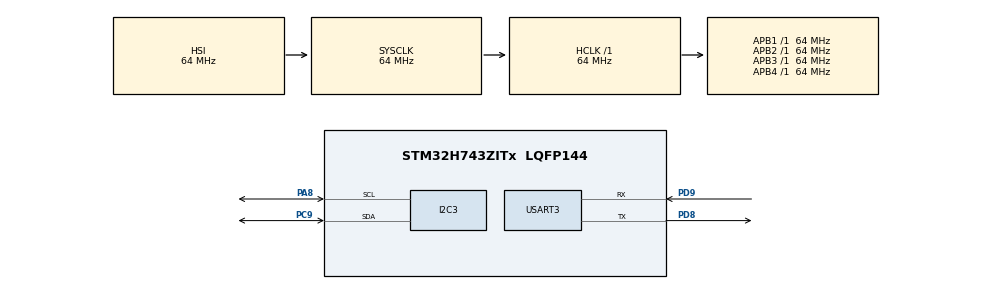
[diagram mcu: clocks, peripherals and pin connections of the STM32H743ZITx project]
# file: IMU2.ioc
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FREERTOS.Tasks01=IMUtask,0,128,StartIMUtask,Default,NULL,Dynamic,NULL,NULL
Mcu.Family=STM32H7
Mcu.Name=STM32H743ZITx
Mcu.Package=LQFP144
NVIC.PriorityGroup=NVIC_PRIORITYGROUP_4
NVIC.TIM1_UP_IRQn=true\:0\:0\:false\:false\:true\:false\:false
NVIC.TimeBase=TIM1_UP_IRQn
NVIC.TimeBaseIP=TIM1
NVIC.USART3_IRQn=true\:5\:0\:false\:false\:true\:true\:true
PA8.Mode=I2C
PA8.Signal=I2C3_SCL
PC9.Mode=I2C
PC9.Signal=I2C3_SDA
PD8.Mode=Asynchronous
PD8.Signal=USART3_TX
PD9.Mode=Asynchronous
PD9.Signal=USART3_RX
ProjectManager.HeapSize=0x200
ProjectManager.StackSize=0x400
ProjectManager.TargetToolchain=SW4STM32
RCC.ADCFreq_Value=129000000
RCC.APB1Freq_Value=64000000
RCC.APB2Freq_Value=64000000
RCC.APB3Freq_Value=64000000
RCC.APB4Freq_Value=64000000
RCC.CortexFreq_Value=64000000
RCC.HCLKFreq_Value=64000000
RCC.SYSCLKFreq_VALUE=64000000
RCC.USBFreq_Value=129000000
USART3.VirtualMode-Asynchronous=VM_ASYNC
USART3.WordLength=WORDLENGTH_8B
VP_FREERTOS_VS_ENABLE.Mode=Enabled
VP_SYS_VS_tim1.Mode=TIM1
board=IMU2

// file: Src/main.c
/**
  ******************************************************************************
  * File Name          : main.c
  * Description        : Main program body
  ******************************************************************************
  * This notice applies to any and all portions of this file
  * that are not between comment pairs USER CODE BEGIN and
  * USER CODE END. Other portions of this file, whether
  * inserted by the user or by software development tools
  * are owned by their respective copyright owners.
  *
  * Copyright (c) 2018 STMicroelectronics International N.V.
  * All rights reserved.
  *
  * Redistribution and use in source and binary forms, with or without
  * modification, are permitted, provided that the following conditions are met:
  *
  * 1. Redistribution of source code must retain the above copyright notice,
  *    this list of conditions and the following disclaimer.
  * 2. Redistributions in binary form must reproduce the above copyright notice,
  *    this list of conditions and the following disclaimer in the documentation
  *    and/or other materials provided with the distribution.
  * 3. Neither the name of STMicroelectronics nor the names of other
  *    contributors to this software may be used to endorse or promote products
  *    derived from this software without specific written permission.
  * 4. This software, including modifications and/or derivative works of this
  *    software, must execute solely and exclusively on microcontroller or
  *    microprocessor devices manufactured by or for STMicroelectronics.
  * 5. Redistribution and use of this software other than as permitted under
  *    this license is void and will automatically terminate your rights under
  *    this license.
  *
  * THIS SOFTWARE IS PROVIDED BY STMICROELECTRONICS AND CONTRIBUTORS "AS IS"
  * AND ANY EXPRESS, IMPLIED OR STATUTORY WARRANTIES, INCLUDING, BUT NOT
  * LIMITED TO, THE IMPLIED WARRANTIES OF MERCHANTABILITY, FITNESS FOR A
  * PARTICULAR PURPOSE AND NON-INFRINGEMENT OF THIRD PARTY INTELLECTUAL PROPERTY
  * RIGHTS ARE DISCLAIMED TO THE FULLEST EXTENT PERMITTED BY LAW. IN NO EVENT
  * SHALL STMICROELECTRONICS OR CONTRIBUTORS BE LIABLE FOR ANY DIRECT, INDIRECT,
  * INCIDENTAL, SPECIAL, EXEMPLARY, OR CONSEQUENTIAL DAMAGES (INCLUDING, BUT NOT
  * LIMITED TO, PROCUREMENT OF SUBSTITUTE GOODS OR SERVICES; LOSS OF USE, DATA,
  * OR PROFITS; OR BUSINESS INTERRUPTION) HOWEVER CAUSED AND ON ANY THEORY OF
  * LIABILITY, WHETHER IN CONTRACT, STRICT LIABILITY, OR TORT (INCLUDING
  * NEGLIGENCE OR OTHERWISE) ARISING IN ANY WAY OUT OF THE USE OF THIS SOFTWARE,
  * EVEN IF ADVISED OF THE POSSIBILITY OF SUCH DAMAGE.
  *
  ******************************************************************************
  */

#include "main.h"
#include "stm32h7xx_hal.h"
#include "cmsis_os.h"
#include "i2c.h"
#include "usart.h"
#include "gpio.h"

/* USER CODE BEGIN Includes */
#include "MPU6050.h"
/* USER CODE END Includes */

/* USER CODE BEGIN PV */
/* Private variables ---------------------------------------------------------*/

/* USER CODE END PV */

void SystemClock_Config(void);
void MX_FREERTOS_Init(void);

/* USER CODE BEGIN PFP */
/* Private function prototypes -----------------------------------------------*/

/* USER CODE END PFP */

int main(void)
{

  /* MCU Configuration----------------------------------------------------------*/

  /* Reset of all peripherals, Initializes the Flash interface and the Systick. */
  HAL_Init();

  /* Configure the system clock */
  SystemClock_Config();

  /* Initialize all configured peripherals */
  MX_GPIO_Init();
  MX_USART3_UART_Init();
  MX_I2C3_Init();

  /* Call init function for freertos objects (in freertos.c) */
  MX_FREERTOS_Init();

  /* Start scheduler */
  osKernelStart();

  /* We should never get here as control is now taken by the scheduler */

  /* Infinite loop */
  while (1)
  {

  }

}

/** System Clock Configuration
*/
void SystemClock_Config(void)
{

  RCC_OscInitTypeDef RCC_OscInitStruct;
  RCC_ClkInitTypeDef RCC_ClkInitStruct;
  RCC_PeriphCLKInitTypeDef PeriphClkInitStruct;

    /**Supply configuration update enable
    */
  MODIFY_REG(PWR->CR3, PWR_CR3_SCUEN, 0);

    /**Configure the main internal regulator output voltage
    */
  __HAL_PWR_VOLTAGESCALING_CONFIG(PWR_REGULATOR_VOLTAGE_SCALE1);

  while ((PWR->D3CR & (PWR_D3CR_VOSRDY)) != PWR_D3CR_VOSRDY)
  {

  }
    /**Initializes the CPU, AHB and APB busses clocks
    */
  RCC_OscInitStruct.OscillatorType = RCC_OSCILLATORTYPE_HSI;
  RCC_OscInitStruct.HSIState = RCC_HSI_DIV1;
  RCC_OscInitStruct.HSICalibrationValue = 16;
  RCC_OscInitStruct.PLL.PLLState = RCC_PLL_NONE;
  if (HAL_RCC_OscConfig(&RCC_OscInitStruct) != HAL_OK)
  {
    _Error_Handler(__FILE__, __LINE__);
  }

    /**Initializes the CPU, AHB and APB busses clocks
    */
  RCC_ClkInitStruct.ClockType = RCC_CLOCKTYPE_HCLK|RCC_CLOCKTYPE_SYSCLK
                              |RCC_CLOCKTYPE_PCLK1|RCC_CLOCKTYPE_PCLK2
                              |RCC_CLOCKTYPE_D3PCLK1|RCC_CLOCKTYPE_D1PCLK1;
  RCC_ClkInitStruct.SYSCLKSource = RCC_SYSCLKSOURCE_HSI;
  RCC_ClkInitStruct.SYSCLKDivider = RCC_SYSCLK_DIV1;
  RCC_ClkInitStruct.AHBCLKDivider = RCC_HCLK_DIV1;
  RCC_ClkInitStruct.APB3CLKDivider = RCC_APB3_DIV1;
  RCC_ClkInitStruct.APB1CLKDivider = RCC_APB1_DIV1;
  RCC_ClkInitStruct.APB2CLKDivider = RCC_APB2_DIV1;
  RCC_ClkInitStruct.APB4CLKDivider = RCC_APB4_DIV1;

  if (HAL_RCC_ClockConfig(&RCC_ClkInitStruct, FLASH_LATENCY_0) != HAL_OK)
  {
    _Error_Handler(__FILE__, __LINE__);
  }

  PeriphClkInitStruct.PeriphClockSelection = RCC_PERIPHCLK_USART3|RCC_PERIPHCLK_I2C3;
  PeriphClkInitStruct.Usart234578ClockSelection = RCC_USART234578CLKSOURCE_D2PCLK1;
  PeriphClkInitStruct.I2c123ClockSelection = RCC_I2C123CLKSOURCE_D2PCLK1;
  if (HAL_RCCEx_PeriphCLKConfig(&PeriphClkInitStruct) != HAL_OK)
  {
    _Error_Handler(__FILE__, __LINE__);
  }

    /**Configure the Systick interrupt time
    */
  HAL_SYSTICK_Config(SystemCoreClock/1000);

    /**Configure the Systick
    */
  HAL_SYSTICK_CLKSourceConfig(SYSTICK_CLKSOURCE_HCLK);

  /* SysTick_IRQn interrupt configuration */
  HAL_NVIC_SetPriority(SysTick_IRQn, 15, 0);
}

void HAL_TIM_PeriodElapsedCallback(TIM_HandleTypeDef *htim)
{
  if (htim->Instance == TIM1) {
    HAL_IncTick();
  }
}

void _Error_Handler(char * file, int line)
{
  while(1)
  {
  }
}

/************************ (C) COPYRIGHT STMicroelectronics *****END OF FILE****/

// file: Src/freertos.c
/**
  ******************************************************************************
  * File Name          : freertos.c
  * Description        : Code for freertos applications
  ******************************************************************************
  * This notice applies to any and all portions of this file
  * that are not between comment pairs USER CODE BEGIN and
  * USER CODE END. Other portions of this file, whether
  * inserted by the user or by software development tools
  * are owned by their respective copyright owners.
  *
  * Copyright (c) 2018 STMicroelectronics International N.V.
  * All rights reserved.
  *
  * Redistribution and use in source and binary forms, with or without
  * modification, are permitted, provided that the following conditions are met:
  *
  * 1. Redistribution of source code must retain the above copyright notice,
  *    this list of conditions and the following disclaimer.
  * 2. Redistributions in binary form must reproduce the above copyright notice,
  *    this list of conditions and the following disclaimer in the documentation
  *    and/or other materials provided with the distribution.
  * 3. Neither the name of STMicroelectronics nor the names of other
  *    contributors to this software may be used to endorse or promote products
  *    derived from this software without specific written permission.
  * 4. This software, including modifications and/or derivative works of this
  *    software, must execute solely and exclusively on microcontroller or
  *    microprocessor devices manufactured by or for STMicroelectronics.
  * 5. Redistribution and use of this software other than as permitted under
  *    this license is void and will automatically terminate your rights under
  *    this license.
  *
  * THIS SOFTWARE IS PROVIDED BY STMICROELECTRONICS AND CONTRIBUTORS "AS IS"
  * AND ANY EXPRESS, IMPLIED OR STATUTORY WARRANTIES, INCLUDING, BUT NOT
  * LIMITED TO, THE IMPLIED WARRANTIES OF MERCHANTABILITY, FITNESS FOR A
  * PARTICULAR PURPOSE AND NON-INFRINGEMENT OF THIRD PARTY INTELLECTUAL PROPERTY
  * RIGHTS ARE DISCLAIMED TO THE FULLEST EXTENT PERMITTED BY LAW. IN NO EVENT
  * SHALL STMICROELECTRONICS OR CONTRIBUTORS BE LIABLE FOR ANY DIRECT, INDIRECT,
  * INCIDENTAL, SPECIAL, EXEMPLARY, OR CONSEQUENTIAL DAMAGES (INCLUDING, BUT NOT
  * LIMITED TO, PROCUREMENT OF SUBSTITUTE GOODS OR SERVICES; LOSS OF USE, DATA,
  * OR PROFITS; OR BUSINESS INTERRUPTION) HOWEVER CAUSED AND ON ANY THEORY OF
  * LIABILITY, WHETHER IN CONTRACT, STRICT LIABILITY, OR TORT (INCLUDING
  * NEGLIGENCE OR OTHERWISE) ARISING IN ANY WAY OUT OF THE USE OF THIS SOFTWARE,
  * EVEN IF ADVISED OF THE POSSIBILITY OF SUCH DAMAGE.
  *
  ******************************************************************************
  */

#include "FreeRTOS.h"
#include "task.h"
#include "cmsis_os.h"

/* USER CODE BEGIN Includes */
#include "stm32h7xx_hal.h"
#include "MPU6050.h"
#include "usart.h"
#include <stdio.h>
#include <stdlib.h>
#include "i2c.h"
#include "usart.h"
#include "gpio.h"
/* USER CODE END Includes */

osThreadId IMUtaskHandle;

void StartIMUtask(void const * argument);

void MX_FREERTOS_Init(void); /* (MISRA C 2004 rule 8.1) */

/* Hook prototypes */

/* Init FreeRTOS */

void MX_FREERTOS_Init(void) {

  /* Create the thread(s) */
  /* definition and creation of IMUtask */
  osThreadDef(IMUtask, StartIMUtask, osPriorityNormal, 0, 128);
  IMUtaskHandle = osThreadCreate(osThread(IMUtask), NULL);

}

/* StartIMUtask function */
void StartIMUtask(void const * argument)
{

  /* USER CODE BEGIN StartIMUtask */
    uint8_t output_buffer[6];
    uint8_t output_buffer_2[6];
    MPU6050_HandleTypeDef IMUdata;
    IMUdata._I2C_Handle = &hi2c3;
    uint16_t test=5;
    MPU6050_RESET_SENSOR_REG(IMUdata);
    MPU6050_init(&IMUdata);

  /* Infinite loop */
  for(;;)
  {
	  MPU6050_READ_DATA(&IMUdata, MPU6050_RA_ACCEL_XOUT_H,output_buffer);
	  			  	uint16_t Xa = abs((int16_t)(output_buffer[0]<<8|output_buffer[1]));
	  			  	uint16_t Ya = abs((int16_t)(output_buffer[2]<<8|output_buffer[3]));
	  			  	uint16_t Za = abs((int16_t)(output_buffer[4]<<8|output_buffer[5]));

	  			  	//Now read the gyroscope values:

	  				MPU6050_READ_DATA(&IMUdata, MPU6050_RA_GYRO_XOUT_H,output_buffer_2);
	  				uint16_t Xg = abs((int16_t)(output_buffer_2[0]<<8|output_buffer_2[1]));
	  				uint16_t Yg = abs((int16_t)(output_buffer_2[2]<<8|output_buffer_2[3]));
	  				uint16_t Zg = abs((int16_t)(output_buffer_2[4]<<8|output_buffer_2[5]));

	  				//Now store in struct:
	  				IMUdata._X_ACCEL = Xa;
	  				IMUdata._Y_ACCEL = Ya;
	  				IMUdata._Z_ACCEL = Za;

	  				IMUdata._X_GYRO = Xg;
	  				IMUdata._Y_GYRO = Yg;
	  				IMUdata._Z_GYRO = Zg;

	  				//TEST: Read a specific register

	  				//Now enqueue the struct
	  				//NOTE: determine how large the queue should be

	  				//xQueueSend( IMUqueueHandle, &IMUdata, 1000);
	  				HAL_UART_Transmit(&huart3, &Xg, 2, 10);
	  				//HAL_UART_Transmit(&huart3, &test, 2, 10);
	  				osDelay(1000);
  }
  /* USER CODE END StartIMUtask */
}

/************************ (C) COPYRIGHT STMicroelectronics *****END OF FILE****/
